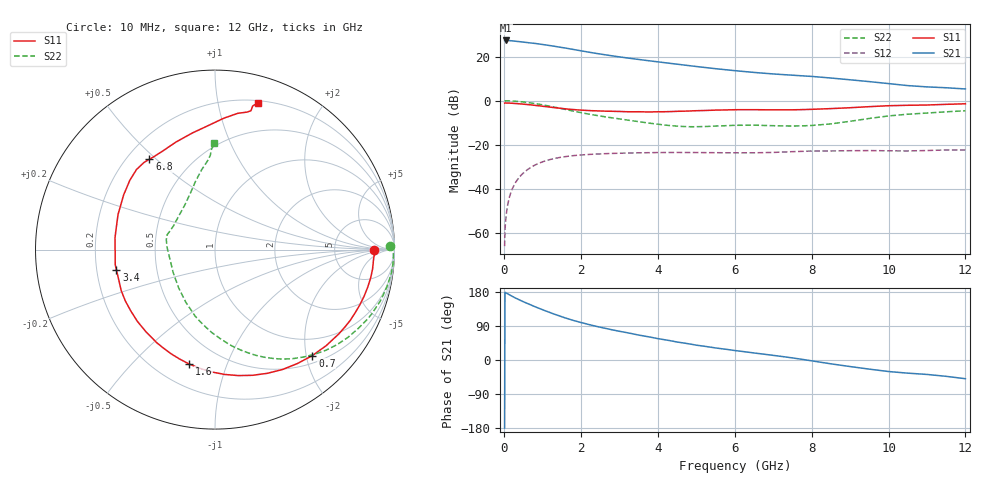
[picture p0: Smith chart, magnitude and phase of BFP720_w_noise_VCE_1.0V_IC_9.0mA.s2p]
! Infineon Technologies  Discrete & RF Semiconductors
! BFP720
! VCE =  1.0 V,  IC =  9.0 mA
! Common Emitter S-Parameters:  Aug 2012
# GHz  S  MA  R  50
!  f  S11  S21  S12  S22
! GHz  MAG  ANG  MAG  ANG  MAG  ANG  MAG  ANG
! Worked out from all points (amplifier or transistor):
!   105 points, 10 MHz to 12 GHz, reference 50 ohm
!   highest |S21| = 27.3 dB at 50 MHz (marker M1)
!   |S21| within 3 dB of that: start of sweep to 1.431 GHz
!   unconditionally stable (mu >= 1): start of sweep to 10.99 MHz; 5.874 GHz to 11.81 GHz
!   at 300 MHz: K = 0.08, MSG = 32.0 dB, |S12| = -37.0 dB
!   at 3.6 GHz: K = 0.65, MSG = 21.1 dB, |S12| = -23.6 dB
!   at 12 GHz: K = 0.95, MSG = 13.8 dB, |S12| = -22.3 dB
!   lowest NFmin = 0.50 dB at 450 MHz
!   S11 on the Smith chart (normalised r, x): 10 MHz: 16, +0; 700 MHz: 0.64, -2.12; 1.6 GHz: 0.33, -0.74; 3.4 GHz: 0.28, -0.09; 6.8 GHz: 0.29, +0.48; 12 GHz: 0.22, +1.31
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0.01  0.8834 0.0  22.91 -179.6  0.0005 -30.4  0.9737 1.2
0.02  0.8892 -1.3  22.98 178.6  0.0011 99.6  0.9935 -0.8
0.05  0.8851 -3.4  23.29 176.9  0.0025 83.3  0.9944 -2.3
0.15  0.8813 -10.5  23.07 171.2  0.0072 84.2  0.9913 -7.4
0.35  0.8567 -24.2  22.08 160.8  0.0164 76.3  0.9645 -17.3
0.5  0.8347 -34.2  21.34 153.7  0.0229 70.8  0.9348 -24.3
0.7  0.8018 -47.4  20.36 145.0  0.031 63.5  0.8877 -33.4
0.9  0.7667 -60.6  19.4 136.6  0.038 56.9  0.8344 -42.2
1.1  0.7312 -73.3  18.31 128.7  0.0439 50.5  0.7755 -50.5
1.3  0.6976 -85.6  17.22 121.1  0.0487 44.8  0.7166 -58.4
1.6  0.6529 -102.9  15.63 110.6  0.054 37.4  0.6313 -68.9
1.8  0.6297 -112.9  14.54 104.4  0.0567 33.1  0.5802 -75.3
2.1  0.6037 -125.8  13.09 96.3  0.0595 27.8  0.5156 -83.9
2.6  0.5806 -143.8  11.11 84.2  0.0627 20.7  0.4348 -96.8
3.4  0.5606 -168.4  8.855 67.9  0.0654 12.3  0.3441 -116.3
4.1  0.5615 170.4  7.428 54.7  0.0666 6.6  0.2856 -137.1
5  0.5932 149.1  5.972 39.1  0.0666 0.5  0.2569 -169.7
6.1  0.6246 133.4  4.72 23.8  0.0657 -3.6  0.277 167.5
6.8  0.6218 126.0  4.178 14.8  0.0665 -4.5  0.2739 159.4
8.5  0.6618 101.0  3.271 -10.1  0.0726 -12.0  0.2977 124.9
10.5  0.7873 76.8  2.202 -34.7  0.0725 -20.4  0.4936 95.0
12  0.8515 73.7  1.847 -49.4  0.0765 -26.6  0.5921 90.3
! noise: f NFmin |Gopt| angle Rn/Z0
0.45  0.5  0.31  1  0.2
1.8  0.56  0.29  20  0.12
2.4  0.62  0.24  42  0.27
5.5  0.76  0.12  33  0.15
10  0.95  0.4  -81  0.22
